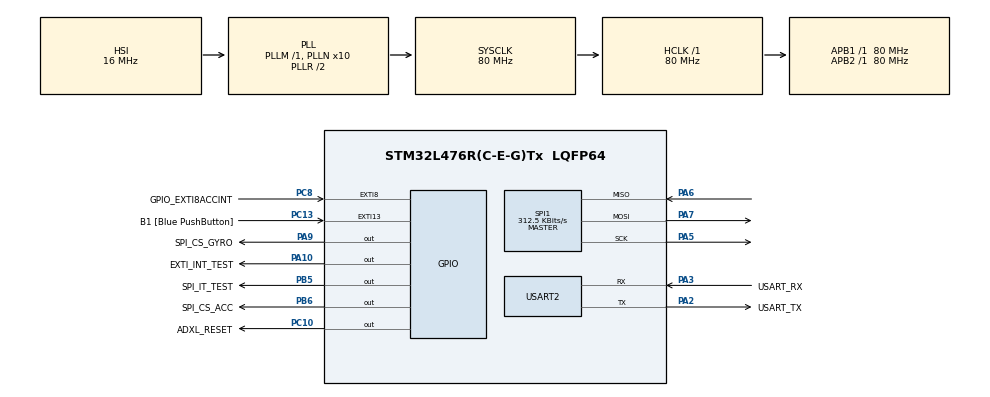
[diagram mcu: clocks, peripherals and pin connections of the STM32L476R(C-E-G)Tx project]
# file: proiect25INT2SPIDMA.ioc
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Dma.Request0=SPI1_RX
Dma.Request1=SPI1_TX
Dma.SPI1_RX.0.Direction=DMA_PERIPH_TO_MEMORY
Dma.SPI1_RX.0.Instance=DMA1_Channel2
Dma.SPI1_RX.0.MemDataAlignment=DMA_MDATAALIGN_BYTE
Dma.SPI1_RX.0.MemInc=DMA_MINC_ENABLE
Dma.SPI1_RX.0.Mode=DMA_NORMAL
Dma.SPI1_RX.0.PeriphDataAlignment=DMA_PDATAALIGN_BYTE
Dma.SPI1_RX.0.PeriphInc=DMA_PINC_DISABLE
Dma.SPI1_RX.0.Priority=DMA_PRIORITY_HIGH
Dma.SPI1_TX.1.Direction=DMA_MEMORY_TO_PERIPH
Dma.SPI1_TX.1.Instance=DMA1_Channel3
Dma.SPI1_TX.1.MemDataAlignment=DMA_MDATAALIGN_BYTE
Dma.SPI1_TX.1.MemInc=DMA_MINC_ENABLE
Dma.SPI1_TX.1.Mode=DMA_NORMAL
Dma.SPI1_TX.1.PeriphDataAlignment=DMA_PDATAALIGN_BYTE
Dma.SPI1_TX.1.PeriphInc=DMA_PINC_DISABLE
Dma.SPI1_TX.1.Priority=DMA_PRIORITY_HIGH
Mcu.Family=STM32L4
Mcu.Name=STM32L476R(C-E-G)Tx
Mcu.Package=LQFP64
NVIC.DMA1_Channel2_IRQn=true\:2\:0\:true\:false\:true\:false\:true\:true
NVIC.DMA1_Channel3_IRQn=true\:2\:0\:true\:false\:true\:false\:true\:true
NVIC.EXTI9_5_IRQn=true\:2\:0\:true\:false\:true\:true\:true\:true
NVIC.PriorityGroup=NVIC_PRIORITYGROUP_4
NVIC.SPI1_IRQn=true\:2\:0\:true\:false\:true\:true\:true\:true
PA10.GPIO_Label=EXTI_INT_TEST
PA10.Signal=GPIO_Output
PA13\ (JTMS-SWDIO).GPIO_Label=TMS
PA13\ (JTMS-SWDIO).Mode=Serial_Wire
PA13\ (JTMS-SWDIO).Signal=SYS_JTMS-SWDIO
PA14\ (JTCK-SWCLK).GPIO_Label=TCK
PA14\ (JTCK-SWCLK).Mode=Serial_Wire
PA14\ (JTCK-SWCLK).Signal=SYS_JTCK-SWCLK
PA2.GPIO_Label=USART_TX
PA2.GPIO_Mode=GPIO_MODE_AF_PP
PA2.GPIO_PuPd=GPIO_NOPULL
PA2.GPIO_Speed=GPIO_SPEED_FREQ_VERY_HIGH
PA2.Mode=Asynchronous
PA2.Signal=USART2_TX
PA3.GPIO_Label=USART_RX
PA3.GPIO_Mode=GPIO_MODE_AF_PP
PA3.GPIO_PuPd=GPIO_NOPULL
PA3.GPIO_Speed=GPIO_SPEED_FREQ_VERY_HIGH
PA3.Mode=Asynchronous
PA3.Signal=USART2_RX
PA5.Mode=Full_Duplex_Master
PA5.Signal=SPI1_SCK
PA6.Mode=Full_Duplex_Master
PA6.Signal=SPI1_MISO
PA7.Mode=Full_Duplex_Master
PA7.Signal=SPI1_MOSI
PA9.GPIO_Label=SPI_CS_GYRO
PA9.Signal=GPIO_Output
PB3\ (JTDO-TRACESWO).GPIO_Label=SWO
PB3\ (JTDO-TRACESWO).Signal=SYS_JTDO-SWO
PB5.GPIO_Label=SPI_IT_TEST
PB5.Signal=GPIO_Output
PB6.GPIO_Label=SPI_CS_ACC
PB6.GPIO_Speed=GPIO_SPEED_FREQ_HIGH
PB6.PinState=GPIO_PIN_SET
PB6.Signal=GPIO_Output
PC10.GPIO_Label=ADXL_RESET
PC10.Signal=GPIO_Output
PC13.GPIO_Label=B1 [Blue PushButton]
PC13.GPIO_ModeDefaultEXTI=GPIO_MODE_IT_FALLING
PC13.GPIO_PuPd=GPIO_NOPULL
PC13.Signal=GPXTI13
PC14-OSC32_IN\ (PC14).Mode=LSE-External-Oscillator
PC14-OSC32_IN\ (PC14).Signal=RCC_OSC32_IN
PC15-OSC32_OUT\ (PC15).Mode=LSE-External-Oscillator
PC15-OSC32_OUT\ (PC15).Signal=RCC_OSC32_OUT
PC8.GPIO_Label=GPIO_EXTI8ACCINT
PC8.GPIO_PuPd=GPIO_PULLDOWN
PC8.Signal=GPXTI8
PH0-OSC_IN\ (PH0).Signal=RCC_OSC_IN
PH1-OSC_OUT\ (PH1).Signal=RCC_OSC_OUT
ProjectManager.HeapSize=0x200
ProjectManager.StackSize=0x400
ProjectManager.TargetToolchain=STM32CubeIDE
RCC.ADCFreq_Value=64000000
RCC.AHBFreq_Value=80000000
RCC.APB1Freq_Value=80000000
RCC.APB1TimFreq_Value=80000000
RCC.APB2Freq_Value=80000000
RCC.APB2TimFreq_Value=80000000
RCC.CortexFreq_Value=80000000
RCC.HCLKFreq_Value=80000000
RCC.HSE_VALUE=8000000
RCC.HSI_VALUE=16000000
RCC.MSI_VALUE=4000000
RCC.PLLN=10
RCC.PLLSourceVirtual=RCC_PLLSOURCE_HSI
RCC.PREFETCH_ENABLE=1
RCC.SYSCLKFreq_VALUE=80000000
RCC.SYSCLKSource=RCC_SYSCLKSOURCE_PLLCLK
RCC.USBFreq_Value=64000000
RCC.VCOOutputFreq_Value=160000000
SPI1.BaudRatePrescaler=SPI_BAUDRATEPRESCALER_256
SPI1.CLKPhase=SPI_PHASE_2EDGE
SPI1.CLKPolarity=SPI_POLARITY_HIGH
SPI1.CalculateBaudRate=312.5 KBits/s
SPI1.DataSize=SPI_DATASIZE_8BIT
SPI1.Direction=SPI_DIRECTION_2LINES
SPI1.Mode=SPI_MODE_MASTER
SPI1.VirtualType=VM_MASTER
USART2.VirtualMode-Asynchronous=VM_ASYNC
board=NUCLEO-L476RG

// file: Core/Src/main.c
/* USER CODE BEGIN Header */
/**
  ******************************************************************************
  * @file           : main.c
  * @brief          : Main program body
  ******************************************************************************
  * @attention
  *
  * Copyright (c) 2022 STMicroelectronics.
  * All rights reserved.
  *
  * This software is licensed under terms that can be found in the LICENSE file
  * in the root directory of this software component.
  * If no LICENSE file comes with this software, it is provided AS-IS.
  *
  ******************************************************************************
  */
/* USER CODE END Header */
#include "main.h"
#include "dma.h"
#include "spi.h"
#include "usart.h"
#include "gpio.h"

/* USER CODE BEGIN Includes */
#include <stdio.h>
#include "ADXL.h"
#include <string.h>
#include "GYRO.h"
/* USER CODE END Includes */

/* USER CODE BEGIN PV */
bool is_new_data_available = false;
bool is_new_ACC_datacomplete = false;
bool is_new_processing_ready = true;
uint8_t TxBuffer[] = { 0, 0, 0, 0, 0, 0, 0 };
uint8_t RxBuffer[7];
extern DMA_HandleTypeDef hdma_spi1_rx;
/* USER CODE END PV */

void SystemClock_Config(void);
/* USER CODE BEGIN PFP */
void DMATransferComplete(DMA_HandleTypeDef *hdma);
/* USER CODE END PFP */

int main(void)
{
  /* USER CODE BEGIN 1 */
  // uint8_t buffTest[] = {0x8F, 0x00};

  /* USER CODE END 1 */

  /* MCU Configuration--------------------------------------------------------*/

  /* Reset of all peripherals, Initializes the Flash interface and the Systick. */
  HAL_Init();

  /* Configure the system clock */
  SystemClock_Config();

  /* Initialize all configured peripherals */
  MX_GPIO_Init();
  MX_DMA_Init();
  MX_USART2_UART_Init();
  MX_SPI1_Init();
  /* USER CODE BEGIN 2 */
  	HAL_NVIC_DisableIRQ(EXTI9_5_IRQn);
    ADXL_Init();
    HAL_NVIC_EnableIRQ(EXTI9_5_IRQn);
    int16_t x,y,z;
    ADXL_ReadValuesXYZ(&x, &y, &z);
	//GYRO_PowerMode();

   //HAL_GPIO_EXTI_Callback(GPIO_EXTI8ACCINT_Pin);

  /* USER CODE END 2 */

  /* Infinite loop */
  /* USER CODE BEGIN WHILE */

  while (1)
  {
	  if(is_new_ACC_datacomplete)
	  {
		  is_new_ACC_datacomplete = false;
		  ADXL_IT_GetValuesXYZ(&x, &y, &z);
		  ADXL_ConvertXYZValuesG(&x, &y, &z);
		  USART_TransmitACCValues(&x, &y, &z);
	  }

    /* USER CODE END WHILE */

   }
}

void SystemClock_Config(void)
{
  RCC_OscInitTypeDef RCC_OscInitStruct = {0};
  RCC_ClkInitTypeDef RCC_ClkInitStruct = {0};

  /** Configure the main internal regulator output voltage
  */
  if (HAL_PWREx_ControlVoltageScaling(PWR_REGULATOR_VOLTAGE_SCALE1) != HAL_OK)
  {
    Error_Handler();
  }

  /** Initializes the RCC Oscillators according to the specified parameters
  * in the RCC_OscInitTypeDef structure.
  */
  RCC_OscInitStruct.OscillatorType = RCC_OSCILLATORTYPE_HSI;
  RCC_OscInitStruct.HSIState = RCC_HSI_ON;
  RCC_OscInitStruct.HSICalibrationValue = RCC_HSICALIBRATION_DEFAULT;
  RCC_OscInitStruct.PLL.PLLState = RCC_PLL_ON;
  RCC_OscInitStruct.PLL.PLLSource = RCC_PLLSOURCE_HSI;
  RCC_OscInitStruct.PLL.PLLM = 1;
  RCC_OscInitStruct.PLL.PLLN = 10;
  RCC_OscInitStruct.PLL.PLLP = RCC_PLLP_DIV7;
  RCC_OscInitStruct.PLL.PLLQ = RCC_PLLQ_DIV2;
  RCC_OscInitStruct.PLL.PLLR = RCC_PLLR_DIV2;
  if (HAL_RCC_OscConfig(&RCC_OscInitStruct) != HAL_OK)
  {
    Error_Handler();
  }

  /** Initializes the CPU, AHB and APB buses clocks
  */
  RCC_ClkInitStruct.ClockType = RCC_CLOCKTYPE_HCLK|RCC_CLOCKTYPE_SYSCLK
                              |RCC_CLOCKTYPE_PCLK1|RCC_CLOCKTYPE_PCLK2;
  RCC_ClkInitStruct.SYSCLKSource = RCC_SYSCLKSOURCE_PLLCLK;
  RCC_ClkInitStruct.AHBCLKDivider = RCC_SYSCLK_DIV1;
  RCC_ClkInitStruct.APB1CLKDivider = RCC_HCLK_DIV1;
  RCC_ClkInitStruct.APB2CLKDivider = RCC_HCLK_DIV1;

  if (HAL_RCC_ClockConfig(&RCC_ClkInitStruct, FLASH_LATENCY_4) != HAL_OK)
  {
    Error_Handler();
  }
}

/* USER CODE BEGIN 4 */
void DMATransferComplete(DMA_HandleTypeDef *hdma)
{
	is_new_ACC_datacomplete = true;
	//hspi1.Instance->CR2 &= ~SPI_CR2_RXDMAEN;
}
/* USER CODE END 4 */

void Error_Handler(void)
{
  __disable_irq();
  while (1)
  {
  }
}
